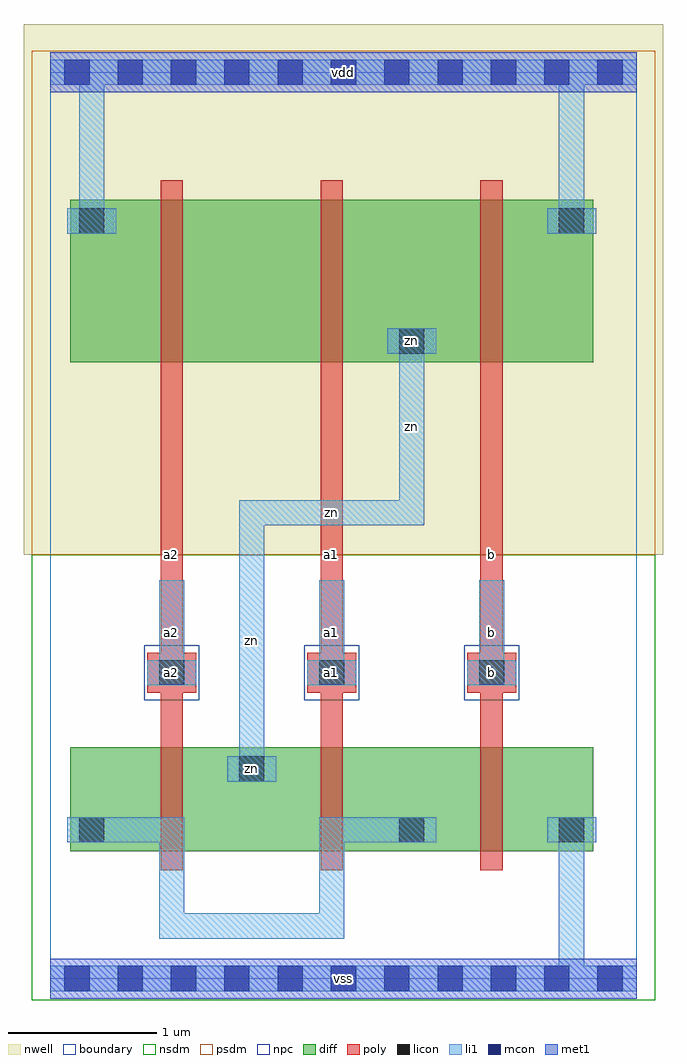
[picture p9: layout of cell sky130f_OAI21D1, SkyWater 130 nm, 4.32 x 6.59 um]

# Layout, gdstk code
import gdstk
lib = gdstk.Library(unit=1e-6, precision=1e-09)
def R(c, l, rs):  # rectangles x0, y0, x1, y1
    for r in rs: c.add(gdstk.rectangle(r[:2], r[2:], *l))
def A(c, l, x, y, w, h, nx, ny, dx, dy):  # array of equal rectangles
    R(c, l, [(x+i*dx, y+j*dy, x+i*dx+w, y+j*dy+h) for i in range(nx) for j in range(ny)])
L0_0 = (0, 0)
nwell = (64, 20)
diff = (65, 20)
poly = (66, 20)
licon = (66, 44)
li1 = (67, 20)
mcon = (67, 44)
met1 = (68, 20)
nsdm = (93, 44)
psdm = (94, 20)
npc = (95, 20)
boundary = (235, 4)

sky130f_oai21d1 = lib.new_cell('sky130f_OAI21D1')
R(sky130f_oai21d1, nwell, [(-0.18,2.86,4.14,6.445)])
A(sky130f_oai21d1, diff, 0.135, 0.86, 1.37, 0.7, 3, 1, 1.08, 0)
A(sky130f_oai21d1, diff, 0.135, 4.16, 1.37, 1.1, 3, 1, 1.08, 0)
R(sky130f_oai21d1, diff, [(0.135,0.86,0.425,1.15), (2.295,0.86,2.585,1.15), (3.375,0.86,3.665,1.15), (1.215,1.27,1.505,1.56), (2.295,4.16,2.585,4.45), (0.135,4.97,0.425,5.26), (3.375,4.97,3.665,5.26)])
A(sky130f_oai21d1, poly, 0.745, 0.73, 0.15, 0.96, 3, 1, 1.08, 0)
A(sky130f_oai21d1, poly, 0.745, 1.34, 0.15, 3.04, 3, 1, 1.08, 0)
A(sky130f_oai21d1, poly, 0.655, 1.93, 0.33, 0.27, 3, 1, 1.08, 0)
A(sky130f_oai21d1, poly, 0.745, 4.03, 0.15, 1.36, 3, 1, 1.08, 0)
A(sky130f_oai21d1, licon, 0.735, 1.98, 0.17, 0.17, 3, 1, 1.08, 0)
R(sky130f_oai21d1, licon, [(0.195,0.92,0.365,1.09), (2.355,0.92,2.525,1.09), (3.435,0.92,3.605,1.09), (1.275,1.33,1.445,1.5), (2.355,4.22,2.525,4.39), (0.195,5.03,0.365,5.2), (3.435,5.03,3.605,5.2)])
A(sky130f_oai21d1, li1, 0.655, 1.98, 0.33, 0.17, 3, 1, 1.08, 0)
A(sky130f_oai21d1, li1, 0.735, 1.98, 0.17, 0.71, 3, 1, 1.08, 0)
R(sky130f_oai21d1, li1, [(0,-0.085,3.96,0.085), (3.435,0.06,3.605,1.09), (0.735,0.27,1.985,0.44), (0.735,0.27,0.905,1.09), (1.815,0.27,1.985,1.09), (0.115,0.92,0.445,1.09), (0.195,0.92,0.905,1.09), (1.815,0.92,2.525,1.09), (2.275,0.92,2.605,1.09), (3.355,0.92,3.685,1.09), (1.195,1.33,1.525,1.5), (1.275,1.33,1.445,3.23), (1.275,3.06,2.525,3.23), (2.355,3.06,2.525,4.39), (2.275,4.22,2.605,4.39), (0.115,5.03,0.445,5.2), (0.195,5.03,0.365,6.06), (3.355,5.03,3.685,5.2), (3.435,5.03,3.605,6.06), (0,6.035,3.96,6.205)])
A(sky130f_oai21d1, mcon, 0.095, -0.085, 0.17, 0.17, 11, 2, 0.36, 6.12)
R(sky130f_oai21d1, met1, [(0,-0.135,3.96,0.135), (0,5.985,3.96,6.255)])
R(sky130f_oai21d1, nsdm, [(-0.125,-0.145,4.085,0.145), (-0.125,0.145,4.085,2.86)])
R(sky130f_oai21d1, psdm, [(-0.125,2.86,4.085,5.975), (-0.125,5.975,4.085,6.265)])
A(sky130f_oai21d1, npc, 0.635, 1.88, 0.37, 0.37, 3, 1, 1.08, 0)
R(sky130f_oai21d1, boundary, [(0,0,3.96,6.12)])
sky130f_oai21d1.add(gdstk.FlexPath([(0.115,0.355),(3.685,0.355)], 0, ends="flush", simple_path=True, layer=0, datatype=0))  # L0_0
sky130f_oai21d1.add(gdstk.FlexPath([(0.115,1.005),(3.685,1.005)], 0, ends="flush", simple_path=True, layer=0, datatype=0))  # L0_0
sky130f_oai21d1.add(gdstk.FlexPath([(0.115,1.415),(3.685,1.415)], 0, ends="flush", simple_path=True, layer=0, datatype=0))  # L0_0
sky130f_oai21d1.add(gdstk.FlexPath([(0.115,2.065),(3.685,2.065)], 0, ends="flush", simple_path=True, layer=0, datatype=0))  # L0_0
sky130f_oai21d1.add(gdstk.FlexPath([(0.115,2.605),(3.685,2.605)], 0, ends="flush", simple_path=True, layer=0, datatype=0))  # L0_0
sky130f_oai21d1.add(gdstk.FlexPath([(0.115,3.145),(3.685,3.145)], 0, ends="flush", simple_path=True, layer=0, datatype=0))  # L0_0
sky130f_oai21d1.add(gdstk.FlexPath([(0.115,4.305),(3.685,4.305)], 0, ends="flush", simple_path=True, layer=0, datatype=0))  # L0_0
sky130f_oai21d1.add(gdstk.FlexPath([(0.115,4.775),(3.685,4.775)], 0, ends="flush", simple_path=True, layer=0, datatype=0))  # L0_0
sky130f_oai21d1.add(gdstk.FlexPath([(0.115,5.115),(3.685,5.115)], 0, ends="flush", simple_path=True, layer=0, datatype=0))  # L0_0
sky130f_oai21d1.add(gdstk.FlexPath([(0.115,5.765),(3.685,5.765)], 0, ends="flush", simple_path=True, layer=0, datatype=0))  # L0_0
sky130f_oai21d1.add(gdstk.FlexPath([(0.28,0.06),(0.28,6.06)], 0, ends="flush", simple_path=True, layer=0, datatype=0))  # L0_0
sky130f_oai21d1.add(gdstk.FlexPath([(0.82,0.06),(0.82,6.06)], 0, ends="flush", simple_path=True, layer=0, datatype=0))  # L0_0
sky130f_oai21d1.add(gdstk.FlexPath([(1.36,0.06),(1.36,6.06)], 0, ends="flush", simple_path=True, layer=0, datatype=0))  # L0_0
sky130f_oai21d1.add(gdstk.FlexPath([(1.9,0.06),(1.9,6.06)], 0, ends="flush", simple_path=True, layer=0, datatype=0))  # L0_0
sky130f_oai21d1.add(gdstk.FlexPath([(2.44,0.06),(2.44,6.06)], 0, ends="flush", simple_path=True, layer=0, datatype=0))  # L0_0
sky130f_oai21d1.add(gdstk.FlexPath([(2.98,0.06),(2.98,6.06)], 0, ends="flush", simple_path=True, layer=0, datatype=0))  # L0_0
sky130f_oai21d1.add(gdstk.FlexPath([(3.52,0.06),(3.52,6.06)], 0, ends="flush", simple_path=True, layer=0, datatype=0))  # L0_0
sky130f_oai21d1.add(gdstk.Label('zn', (1.36,1.415), layer=65, texttype=20))
sky130f_oai21d1.add(gdstk.Label('zn', (2.44,4.305), layer=65, texttype=20))
sky130f_oai21d1.add(gdstk.Label('a1', (1.9,2.86), layer=66, texttype=20))
sky130f_oai21d1.add(gdstk.Label('a1', (1.9,2.065), layer=66, texttype=20))
sky130f_oai21d1.add(gdstk.Label('a2', (0.82,2.86), layer=66, texttype=20))
sky130f_oai21d1.add(gdstk.Label('a2', (0.82,2.065), layer=66, texttype=20))
sky130f_oai21d1.add(gdstk.Label('b', (2.98,2.86), layer=66, texttype=20))
sky130f_oai21d1.add(gdstk.Label('b', (2.98,2.065), layer=66, texttype=20))
sky130f_oai21d1.add(gdstk.Label('zn', (1.36,1.415), layer=66, texttype=44))
sky130f_oai21d1.add(gdstk.Label('zn', (2.44,4.305), layer=66, texttype=44))
sky130f_oai21d1.add(gdstk.Label('a1', (1.9,2.065), layer=66, texttype=44))
sky130f_oai21d1.add(gdstk.Label('a2', (0.82,2.065), layer=66, texttype=44))
sky130f_oai21d1.add(gdstk.Label('b', (2.98,2.065), layer=66, texttype=44))
sky130f_oai21d1.add(gdstk.Label('zn', (1.36,1.415), layer=67, texttype=5))
sky130f_oai21d1.add(gdstk.Label('zn', (2.44,4.305), layer=67, texttype=5))
sky130f_oai21d1.add(gdstk.Label('zn', (1.36,2.28), layer=67, texttype=5))
sky130f_oai21d1.add(gdstk.Label('zn', (1.9,3.145), layer=67, texttype=5))
sky130f_oai21d1.add(gdstk.Label('zn', (2.44,3.725), layer=67, texttype=5))
sky130f_oai21d1.add(gdstk.Label('a1', (1.9,2.065), layer=67, texttype=5))
sky130f_oai21d1.add(gdstk.Label('a1', (1.9,2.335), layer=67, texttype=5))
sky130f_oai21d1.add(gdstk.Label('a2', (0.82,2.065), layer=67, texttype=5))
sky130f_oai21d1.add(gdstk.Label('a2', (0.82,2.335), layer=67, texttype=5))
sky130f_oai21d1.add(gdstk.Label('b', (2.98,2.065), layer=67, texttype=5))
sky130f_oai21d1.add(gdstk.Label('b', (2.98,2.335), layer=67, texttype=5))
sky130f_oai21d1.add(gdstk.Label('vss', (1.98,0), layer=67, texttype=5))
sky130f_oai21d1.add(gdstk.Label('vdd', (1.98,6.12), layer=67, texttype=5))
sky130f_oai21d1.add(gdstk.Label('vss', (1.98,0), layer=68, texttype=5))
sky130f_oai21d1.add(gdstk.Label('vdd', (1.98,6.12), layer=68, texttype=5))

lib.write_gds('sky130f_OAI21D1.gds')
